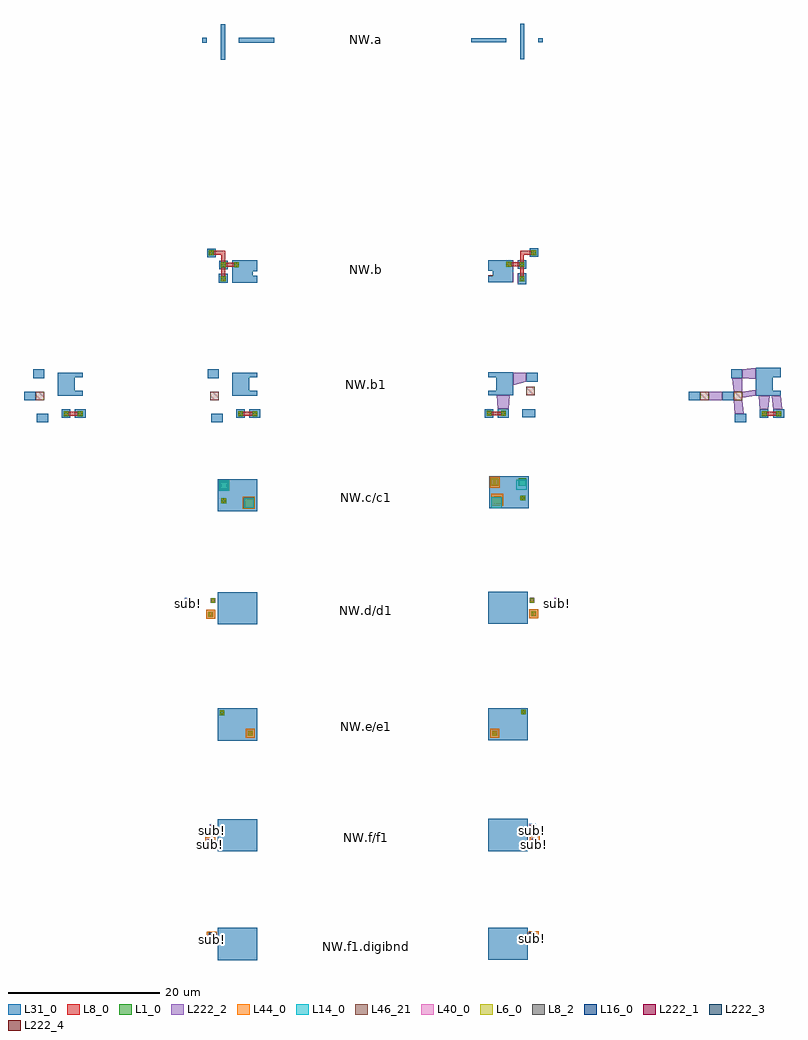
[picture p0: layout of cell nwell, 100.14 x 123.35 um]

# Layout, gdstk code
import gdstk
lib = gdstk.Library(unit=1e-6, precision=1e-09)
def R(c, l, rs):  # rectangles x0, y0, x1, y1
    for r in rs: c.add(gdstk.rectangle(r[:2], r[2:], *l))
def P(c, l, *ps):  # polygons
    for p in ps: c.add(gdstk.Polygon(p, *l))
L1_0 = (1, 0)
L6_0 = (6, 0)
L8_0 = (8, 0)
L8_2 = (8, 2)
L14_0 = (14, 0)
L16_0 = (16, 0)
L31_0 = (31, 0)
L40_0 = (40, 0)
L44_0 = (44, 0)
L46_21 = (46, 21)
L222_1 = (222, 1)
L222_2 = (222, 2)
L222_3 = (222, 3)
L222_4 = (222, 4)

nwell = lib.new_cell('nwell')
R(nwell, L1_0, [(-20.46,-130.75,-19.68,-129.97), (21.65,-130.705,22.43,-129.925), (-20.815,-118.32,-20.035,-117.54), (21.97,-118.275,22.75,-117.495), (-20.46,-116.435,-19.68,-115.655), (21.65,-116.39,22.43,-115.61), (16.78,-103.965,17.42,-103.325), (-15.465,-103.96,-14.825,-103.32), (-19.175,-101.23,-18.535,-100.59), (20.56,-101.145,21.2,-100.505), (-20.675,-88.26,-20.035,-87.62), (21.92,-88.215,22.56,-87.575), (-23.7,-86.6,-22.92,-85.82), (24.925,-86.555,25.705,-85.775), (-20.365,-86.46,-19.725,-85.82), (21.67,-86.415,22.31,-85.775), (-15.825,-73.755,-14.825,-72.755), (16.943,-73.389,17.943,-72.389), (-18.95,-73.32,-18.31,-72.68), (20.448,-72.944,21.088,-72.304), (-19.1,-71.46,-18.1,-70.46), (16.531,-71.039,17.531,-70.039), (20.253,-71.039,21.253,-70.039), (-39.73,-61.825,-39.09,-61.185), (-37.825,-61.825,-37.185,-61.185), (-16.73,-61.825,-16.09,-61.185), (-14.825,-61.825,-14.185,-61.185), (52.27,-61.825,52.91,-61.185), (54.175,-61.825,54.815,-61.185), (16.01,-61.8,16.65,-61.16), (17.915,-61.8,18.555,-61.16), (20.355,-44.075,20.995,-43.435), (-18.995,-44.045,-18.355,-43.405), (-18.995,-42.215,-18.355,-41.575), (-17.255,-42.195,-16.615,-41.555), (20.355,-42.17,20.995,-41.53), (18.62,-42.15,19.26,-41.51), (-20.565,-40.645,-19.925,-40.005), (21.91,-40.615,22.55,-39.975)])
R(nwell, L6_0, [(-20.32,-130.61,-20.16,-130.45), (-19.98,-130.61,-19.82,-130.45), (21.79,-130.565,21.95,-130.405), (22.13,-130.565,22.29,-130.405), (-20.32,-130.27,-20.16,-130.11), (-19.98,-130.27,-19.82,-130.11), (21.79,-130.225,21.95,-130.065), (22.13,-130.225,22.29,-130.065), (-20.675,-118.18,-20.515,-118.02), (-20.335,-118.18,-20.175,-118.02), (22.11,-118.135,22.27,-117.975), (22.45,-118.135,22.61,-117.975), (-20.675,-117.84,-20.515,-117.68), (-20.335,-117.84,-20.175,-117.68), (22.11,-117.795,22.27,-117.635), (22.45,-117.795,22.61,-117.635), (-20.32,-116.295,-20.16,-116.135), (-19.98,-116.295,-19.82,-116.135), (21.79,-116.25,21.95,-116.09), (22.13,-116.25,22.29,-116.09), (-20.32,-115.955,-20.16,-115.795), (-19.98,-115.955,-19.82,-115.795), (21.79,-115.91,21.95,-115.75), (22.13,-115.91,22.29,-115.75), (16.85,-103.895,17.01,-103.735), (17.19,-103.895,17.35,-103.735), (-15.395,-103.89,-15.235,-103.73), (-15.055,-103.89,-14.895,-103.73), (16.85,-103.555,17.01,-103.395), (17.19,-103.555,17.35,-103.395), (-15.395,-103.55,-15.235,-103.39), (-15.055,-103.55,-14.895,-103.39), (-19.105,-101.16,-18.945,-101), (-18.765,-101.16,-18.605,-101), (20.63,-101.075,20.79,-100.915), (20.97,-101.075,21.13,-100.915), (-19.105,-100.82,-18.945,-100.66), (-18.765,-100.82,-18.605,-100.66), (20.63,-100.735,20.79,-100.575), (20.97,-100.735,21.13,-100.575), (-20.605,-88.19,-20.445,-88.03), (-20.265,-88.19,-20.105,-88.03), (21.99,-88.145,22.15,-87.985), (22.33,-88.145,22.49,-87.985), (-20.605,-87.85,-20.445,-87.69), (-20.265,-87.85,-20.105,-87.69), (21.99,-87.805,22.15,-87.645), (22.33,-87.805,22.49,-87.645), (-23.56,-86.46,-23.4,-86.3), (-23.22,-86.46,-23.06,-86.3), (25.065,-86.415,25.225,-86.255), (25.405,-86.415,25.565,-86.255), (-20.295,-86.39,-20.135,-86.23), (-19.955,-86.39,-19.795,-86.23), (21.74,-86.345,21.9,-86.185), (22.08,-86.345,22.24,-86.185), (-23.56,-86.12,-23.4,-85.96), (-23.22,-86.12,-23.06,-85.96), (25.065,-86.075,25.225,-85.915), (25.405,-86.075,25.565,-85.915), (-20.295,-86.05,-20.135,-85.89), (-19.955,-86.05,-19.795,-85.89), (21.74,-86.005,21.9,-85.845), (22.08,-86.005,22.24,-85.845), (-18.88,-73.25,-18.72,-73.09), (-18.54,-73.25,-18.38,-73.09), (-18.88,-72.91,-18.72,-72.75), (-18.54,-72.91,-18.38,-72.75), (20.518,-72.874,20.678,-72.714), (20.858,-72.874,21.018,-72.714), (20.518,-72.534,20.678,-72.374), (20.858,-72.534,21.018,-72.374), (-39.66,-61.755,-39.5,-61.595), (-39.32,-61.755,-39.16,-61.595), (-37.755,-61.755,-37.595,-61.595), (-37.415,-61.755,-37.255,-61.595), (-16.66,-61.755,-16.5,-61.595), (-16.32,-61.755,-16.16,-61.595), (-14.755,-61.755,-14.595,-61.595), (-14.415,-61.755,-14.255,-61.595), (52.34,-61.755,52.5,-61.595), (52.68,-61.755,52.84,-61.595), (54.245,-61.755,54.405,-61.595), (54.585,-61.755,54.745,-61.595), (16.08,-61.73,16.24,-61.57), (16.42,-61.73,16.58,-61.57), (17.985,-61.73,18.145,-61.57), (18.325,-61.73,18.485,-61.57), (-39.66,-61.415,-39.5,-61.255), (-39.32,-61.415,-39.16,-61.255), (-37.755,-61.415,-37.595,-61.255), (-37.415,-61.415,-37.255,-61.255), (-16.66,-61.415,-16.5,-61.255), (-16.32,-61.415,-16.16,-61.255), (-14.755,-61.415,-14.595,-61.255), (-14.415,-61.415,-14.255,-61.255), (52.34,-61.415,52.5,-61.255), (52.68,-61.415,52.84,-61.255), (54.245,-61.415,54.405,-61.255), (54.585,-61.415,54.745,-61.255), (16.08,-61.39,16.24,-61.23), (16.42,-61.39,16.58,-61.23), (17.985,-61.39,18.145,-61.23), (18.325,-61.39,18.485,-61.23), (20.425,-44.005,20.585,-43.845), (20.765,-44.005,20.925,-43.845), (-18.925,-43.975,-18.765,-43.815), (-18.585,-43.975,-18.425,-43.815), (20.425,-43.665,20.585,-43.505), (20.765,-43.665,20.925,-43.505), (-18.925,-43.635,-18.765,-43.475), (-18.585,-43.635,-18.425,-43.475), (-18.925,-42.145,-18.765,-41.985), (-18.585,-42.145,-18.425,-41.985), (-17.185,-42.125,-17.025,-41.965), (-16.845,-42.125,-16.685,-41.965), (20.425,-42.1,20.585,-41.94), (20.765,-42.1,20.925,-41.94), (18.69,-42.08,18.85,-41.92), (19.03,-42.08,19.19,-41.92), (-18.925,-41.805,-18.765,-41.645), (-18.585,-41.805,-18.425,-41.645), (-17.185,-41.785,-17.025,-41.625), (-16.845,-41.785,-16.685,-41.625), (20.425,-41.76,20.585,-41.6), (20.765,-41.76,20.925,-41.6), (18.69,-41.74,18.85,-41.58), (19.03,-41.74,19.19,-41.58), (-20.495,-40.575,-20.335,-40.415), (-20.155,-40.575,-19.995,-40.415), (21.98,-40.545,22.14,-40.385), (22.32,-40.545,22.48,-40.385), (-20.495,-40.235,-20.335,-40.075), (-20.155,-40.235,-19.995,-40.075), (21.98,-40.205,22.14,-40.045), (22.32,-40.205,22.48,-40.045)])
R(nwell, L8_0, [(-20.32,-130.685,-19.82,-130.05), (-20.32,-130.66,-19.82,-130.06), (21.79,-130.615,22.29,-130.015), (21.79,-130.615,22.29,-130.015), (-20.675,-118.235,-20.175,-117.62), (-20.675,-118.23,-20.175,-117.63), (22.11,-118.195,22.61,-117.585), (22.11,-118.185,22.61,-117.585), (-20.32,-116.37,-19.82,-115.735), (-20.32,-116.345,-19.82,-115.745), (21.79,-116.3,22.29,-115.7), (21.79,-116.3,22.29,-115.7), (16.8,-103.895,17.4,-103.395), (-15.445,-103.89,-14.845,-103.39), (-19.155,-101.16,-18.555,-100.66), (20.58,-101.075,21.18,-100.575), (-20.655,-88.19,-20.055,-87.69), (21.94,-88.145,22.54,-87.645), (-23.56,-86.51,-23.06,-85.91), (-23.56,-86.51,-23.06,-85.91), (25.065,-86.475,25.565,-85.85), (25.065,-86.465,25.565,-85.865), (-20.345,-86.39,-19.745,-85.89), (21.69,-86.345,22.29,-85.845), (-18.93,-73.25,-18.33,-72.75), (20.468,-72.874,21.068,-72.374), (-39.66,-61.805,-39.16,-61.205), (-37.755,-61.805,-37.255,-61.205), (-16.66,-61.805,-16.16,-61.205), (-14.755,-61.805,-14.255,-61.205), (52.34,-61.805,52.84,-61.205), (54.245,-61.805,54.745,-61.205), (16.08,-61.78,16.58,-61.18), (17.985,-61.78,18.485,-61.18), (-39.675,-61.76,-37.755,-61.26), (-16.675,-61.76,-14.755,-61.26), (52.325,-61.76,54.245,-61.26), (16.065,-61.735,17.985,-61.235), (20.375,-44.005,20.975,-43.505), (-18.975,-43.975,-18.375,-43.475), (-18.92,-43.695,-18.42,-41.63), (20.42,-43.505,20.92,-41.585), (-18.975,-42.145,-18.375,-41.645), (-18.785,-42.125,-16.635,-41.625), (-17.235,-42.125,-16.635,-41.625), (20.375,-42.1,20.975,-41.6), (18.64,-42.08,19.24,-41.58), (18.64,-42.08,20.855,-41.58), (-18.92,-41.63,-18.42,-40.075), (20.42,-41.585,20.92,-40.045), (-20.545,-40.575,-19.945,-40.075), (-20.4,-40.575,-18.42,-40.075), (20.43,-40.545,22.385,-40.045), (21.93,-40.545,22.53,-40.045)])
R(nwell, L8_2, [(-20.32,-130.61,-19.82,-130.11), (21.79,-130.565,22.29,-130.065), (-20.675,-118.18,-20.175,-117.68), (22.11,-118.135,22.61,-117.635), (-20.32,-116.295,-19.82,-115.795), (21.79,-116.25,22.29,-115.75), (-23.56,-86.46,-23.06,-85.96), (25.065,-86.415,25.565,-85.915)])
R(nwell, L14_0, [(-20.49,-130.78,-19.65,-129.94), (21.62,-130.735,22.46,-129.895), (-20.845,-118.35,-20.005,-117.51), (21.94,-118.305,22.78,-117.465), (-20.49,-116.465,-19.65,-115.625), (21.62,-116.42,22.46,-115.58), (-23.73,-86.63,-22.89,-85.79), (24.895,-86.585,25.735,-85.745), (-16.005,-73.935,-14.645,-72.575), (16.63,-73.9,17.99,-72.54), (-19.28,-71.64,-17.92,-70.28), (19.94,-71.55,21.3,-70.19)])
R(nwell, L16_0, [(-20.59,-130.87,-19.59,-129.88), (21.58,-130.765,22.505,-129.86)])
R(nwell, L31_0, [(-19.415,-133.51,-14.205,-129.28), (16.21,-133.465,21.42,-129.235), (-19.415,-119.195,-14.205,-114.965), (16.21,-119.15,21.42,-114.92), (-19.415,-104.58,-14.205,-100.35), (16.21,-104.535,21.42,-100.305), (-19.415,-89.245,-14.205,-85.015), (16.21,-89.2,21.42,-84.97), (-19.415,-74.375,-14.205,-70.145), (16.343,-73.999,21.553,-69.769), (-43.29,-62.645,-41.77,-61.545), (-20.29,-62.645,-18.77,-61.545), (48.71,-62.645,50.23,-61.545), (-39.97,-62.065,-38.85,-60.945), (-38.23,-62.065,-36.8,-60.945), (-16.97,-62.065,-15.85,-60.945), (-15.23,-62.065,-13.8,-60.945), (52.03,-62.065,53.15,-60.935), (53.77,-62.065,55.2,-60.935), (15.77,-62.04,16.89,-60.92), (17.51,-62.04,18.94,-60.895), (20.74,-62,22.43,-60.9), (42.65,-59.75,44.145,-58.65), (-44.94,-59.735,-43.42,-58.635), (47.06,-59.735,48.58,-58.635), (21.25,-57.34,22.73,-56.14), (-43.725,-56.815,-42.295,-55.635), (-20.725,-56.815,-19.295,-55.635), (48.275,-56.815,49.705,-55.635), (20.115,-44.46,21.26,-43.03), (-19.26,-44.285,-18.115,-43.075), (-19.235,-42.455,-18.115,-41.335), (20.115,-42.41,21.235,-41.29), (-20.805,-40.885,-19.685,-39.765), (21.67,-40.855,22.79,-39.735), (-19.04,-14.86,-18.42,-10.205), (20.425,-14.815,20.975,-10.16), (-21.46,-12.615,-20.84,-11.995), (-16.62,-12.615,-11.965,-11.995), (13.97,-12.57,18.625,-12.02), (22.845,-12.57,23.395,-12.02)])
P(nwell, L31_0, [(51.495,-59.145),(51.495,-55.46),(54.795,-55.46),(54.795,-56.725),(53.725,-56.725),(53.725,-58.525),(54.795,-58.525),(54.795,-59.145)],
  [(-40.495,-59.145),(-40.495,-56.105),(-37.205,-56.105),(-37.205,-56.725),(-38.275,-56.725),(-38.275,-58.525),(-37.205,-58.525),(-37.205,-59.145)],
  [(-17.495,-59.145),(-17.495,-56.105),(-14.205,-56.105),(-14.205,-56.725),(-15.275,-56.725),(-15.275,-58.525),(-14.205,-58.525),(-14.205,-59.145)],
  [(-17.495,-44.265),(-17.495,-41.315),(-14.205,-41.315),(-14.205,-42.735),(-14.8,-42.735),(-14.8,-43.355),(-14.205,-43.355),(-14.205,-44.265)],
  [(16.21,-59.1),(16.21,-58.48),(17.28,-58.48),(17.28,-56.685),(16.21,-56.685),(16.21,-56.065),(19.5,-56.065),(19.5,-59.1)],
  [(16.21,-44.22),(16.21,-43.31),(16.805,-43.31),(16.805,-42.695),(16.21,-42.695),(16.21,-41.27),(19.5,-41.27),(19.5,-44.22)])
R(nwell, L40_0, [(-20.46,-130.75,-19.68,-129.97), (21.65,-130.705,22.43,-129.925), (-20.815,-118.32,-20.035,-117.54), (21.97,-118.275,22.75,-117.495), (-20.46,-116.435,-19.68,-115.655), (21.65,-116.39,22.43,-115.61), (-23.7,-86.6,-22.92,-85.82), (24.925,-86.555,25.705,-85.775)])
R(nwell, L44_0, [(-20.855,-131.085,-19.535,-129.76), (21.535,-131.04,22.855,-129.715), (-21.085,-118.595,-19.765,-117.27), (21.7,-118.55,23.02,-117.225), (16.51,-104.235,17.69,-103.055), (-15.735,-104.23,-14.555,-103.05), (-20.945,-88.53,-19.765,-87.35), (21.65,-88.485,22.83,-87.305), (-16.1,-74.035,-14.535,-72.45), (16.653,-73.669,18.218,-72.084), (16.417,-71.245,17.724,-69.838)])
R(nwell, L46_21, [(44.145,-59.77,45.28,-58.62), (48.58,-59.755,49.715,-58.605), (-43.42,-59.745,-42.295,-58.615), (-20.42,-59.745,-19.295,-58.615), (21.245,-59.1,22.37,-57.97)])
R(nwell, L222_1, [(20.11,-44.299,20.12,-43.03), (19.495,-44.22,19.505,-42.951), (16.21,-43.315,16.805,-43.305), (16.21,-42.7,16.805,-42.69), (19.495,-42.489,19.505,-41.27), (20.11,-42.41,20.12,-41.29), (21.228,-41.295,21.248,-41.285), (21.677,-40.86,21.697,-40.85)])
P(nwell, L222_1, [(21.237,-41.285),(21.233,-41.295),(21.253,-41.302),(21.257,-41.292)],
  [(21.668,-40.85),(21.672,-40.86),(21.692,-40.853),(21.688,-40.843)])
P(nwell, L222_2, [(48.71,-61.545),(48.58,-59.755),(49.715,-59.755),(49.904,-61.545)],
  [(52.03,-60.935),(51.841,-59.145),(53.339,-59.145),(53.15,-60.935)],
  [(53.77,-60.935),(53.581,-59.145),(54.795,-59.145),(54.984,-60.935)],
  [(17.51,-60.895),(17.376,-59.1),(19.074,-59.1),(18.94,-60.895)],
  [(45.28,-59.77),(45.28,-58.62),(47.06,-58.635),(47.06,-59.735)],
  [(19.5,-57.761),(19.5,-56.065),(21.25,-56.14),(21.25,-57.34)],
  [(49.715,-59.413),(49.715,-58.605),(48.58,-58.605),(48.391,-56.815),(49.705,-56.815),(49.705,-55.635),(51.495,-55.46),(51.495,-57.004),(49.705,-56.815),(49.715,-58.605),(51.495,-58.337),(51.495,-59.145)])
R(nwell, L222_3, [(21.415,-118.561,21.425,-117.209), (21.965,-118.275,21.975,-117.495)])
R(nwell, L222_4, [(21.415,-130.774,21.425,-129.856), (21.645,-130.705,21.655,-129.925)])
nwell.add(gdstk.Label('sub!', (-20.07,-130.74), layer=63, texttype=0))
nwell.add(gdstk.Label('sub!', (22.04,-130.695), layer=63, texttype=0))
nwell.add(gdstk.Label('NW.f1.digibnd', (0,-131.68), layer=63, texttype=0))
nwell.add(gdstk.Label('sub!', (22.36,-118.265), layer=63, texttype=0))
nwell.add(gdstk.Label('sub!', (25.315,-86.545), layer=63, texttype=0))
nwell.add(gdstk.Label('sub!', (-23.31,-86.59), layer=63, texttype=0))
nwell.add(gdstk.Label('sub!', (-20.07,-116.425), layer=63, texttype=0))
nwell.add(gdstk.Label('sub!', (-20.425,-118.31), layer=63, texttype=0))
nwell.add(gdstk.Label('sub!', (22.04,-116.38), layer=63, texttype=0))
nwell.add(gdstk.Label('NW.a', (0,-12.225), layer=63, texttype=0))
nwell.add(gdstk.Label('NW.b', (0,-42.485), layer=63, texttype=0))
nwell.add(gdstk.Label('NW.b1', (0,-57.675), layer=63, texttype=0))
nwell.add(gdstk.Label('NW.c/c1', (0,-72.545), layer=63, texttype=0))
nwell.add(gdstk.Label('NW.d/d1', (0,-87.415), layer=63, texttype=0))
nwell.add(gdstk.Label('NW.e/e1', (0,-102.75), layer=63, texttype=0))
nwell.add(gdstk.Label('NW.f/f1', (0,-117.365), layer=63, texttype=0))
nwell.add(gdstk.Label('PASS', (-12,5), layer=63, texttype=0))
nwell.add(gdstk.Label('FAIL', (12,5), layer=63, texttype=0))
nwell.add(gdstk.Label('5.1_NWELL', (0,21), layer=63, texttype=0))

lib.write_gds('nwell.gds')
